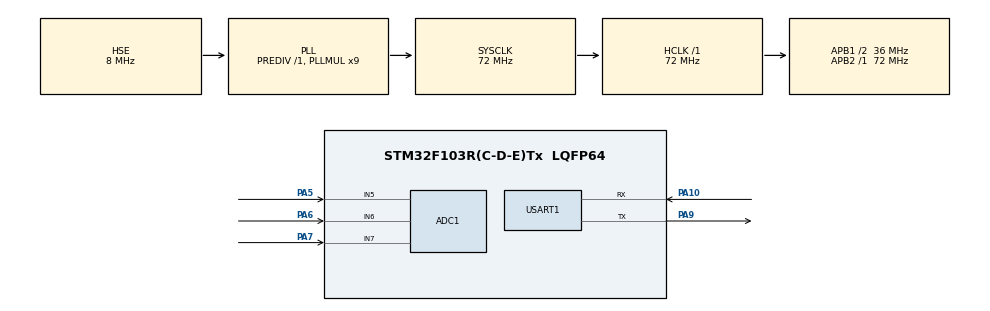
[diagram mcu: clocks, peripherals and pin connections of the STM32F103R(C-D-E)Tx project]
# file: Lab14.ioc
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ADC1.Channel-6\#ChannelRegularConversion=ADC_CHANNEL_5
ADC1.Channel-7\#ChannelRegularConversion=ADC_CHANNEL_6
ADC1.Channel-8\#ChannelRegularConversion=ADC_CHANNEL_7
ADC1.DiscontinuousConvMode=ENABLE
ADC1.NbrOfConversion=3
ADC1.NbrOfConversionFlag=1
ADC1.Rank-6\#ChannelRegularConversion=1
ADC1.Rank-7\#ChannelRegularConversion=2
ADC1.Rank-8\#ChannelRegularConversion=3
ADC1.SamplingTime-6\#ChannelRegularConversion=ADC_SAMPLETIME_1CYCLE_5
ADC1.SamplingTime-7\#ChannelRegularConversion=ADC_SAMPLETIME_1CYCLE_5
ADC1.SamplingTime-8\#ChannelRegularConversion=ADC_SAMPLETIME_1CYCLE_5
ADC1.master=1
Mcu.Family=STM32F1
Mcu.Name=STM32F103R(C-D-E)Tx
Mcu.Package=LQFP64
NVIC.PriorityGroup=NVIC_PRIORITYGROUP_4
PA10.Mode=Asynchronous
PA10.Signal=USART1_RX
PA13.Mode=Serial_Wire
PA13.Signal=SYS_JTMS-SWDIO
PA14.Mode=Serial_Wire
PA14.Signal=SYS_JTCK-SWCLK
PA5.Signal=ADCx_IN5
PA6.Signal=ADCx_IN6
PA7.Signal=ADCx_IN7
PA9.Mode=Asynchronous
PA9.Signal=USART1_TX
PD0-OSC_IN.Mode=HSE-External-Oscillator
PD0-OSC_IN.Signal=RCC_OSC_IN
PD1-OSC_OUT.Mode=HSE-External-Oscillator
PD1-OSC_OUT.Signal=RCC_OSC_OUT
ProjectManager.HeapSize=0x200
ProjectManager.StackSize=0x400
ProjectManager.TargetToolchain=STM32CubeIDE
RCC.ADCPresc=RCC_ADCPCLK2_DIV6
RCC.AHBFreq_Value=72000000
RCC.APB1CLKDivider=RCC_HCLK_DIV2
RCC.APB1Freq_Value=36000000
RCC.APB1TimFreq_Value=72000000
RCC.APB2Freq_Value=72000000
RCC.APB2TimFreq_Value=72000000
RCC.HCLKFreq_Value=72000000
RCC.PLLMUL=RCC_PLL_MUL9
RCC.PLLSourceVirtual=RCC_PLLSOURCE_HSE
RCC.SYSCLKFreq_VALUE=72000000
RCC.SYSCLKSource=RCC_SYSCLKSOURCE_PLLCLK
RCC.USBFreq_Value=72000000
SH.ADCx_IN5.0=ADC1_IN5,IN5
SH.ADCx_IN6.0=ADC1_IN6,IN6
SH.ADCx_IN7.0=ADC1_IN7,IN7
USART1.VirtualMode=VM_ASYNC
board=custom

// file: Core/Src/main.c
/* USER CODE BEGIN Header */
/**
  ******************************************************************************
  * @file           : main.c
  * @brief          : Main program body
  ******************************************************************************
  * @attention
  *
  * Copyright (c) 2023 STMicroelectronics.
  * All rights reserved.
  *
  * This software is licensed under terms that can be found in the LICENSE file
  * in the root directory of this software component.
  * If no LICENSE file comes with this software, it is provided AS-IS.
  *
  ******************************************************************************
  */
/* USER CODE END Header */
#include "main.h"
#include "adc.h"
#include "usart.h"
#include "gpio.h"

/* USER CODE BEGIN Includes */
#include <stdio.h>
#include <string.h>
#include "lcd.h"
/* USER CODE END Includes */

void SystemClock_Config(void);

int main(void) {

    /* MCU Configuration--------------------------------------------------------*/

    /* Reset of all peripherals, Initializes the Flash interface and the Systick. */
    HAL_Init();

    /* Configure the system clock */
    SystemClock_Config();

    /* Initialize all configured peripherals */
    MX_GPIO_Init();
    MX_ADC1_Init();
    MX_USART1_UART_Init();
    /* USER CODE BEGIN 2 */
    LCD_Init();
    uint16_t raw;
    char msg[20];
    double vol;
    HAL_UART_Transmit(&huart1, "Start\r\n", 7, HAL_MAX_DELAY);
//    LCD_ShowString(30, 110, 200, 16, 16, "The voltage is: ");
    /* USER CODE END 2 */

    /* Infinite loop */
    /* USER CODE BEGIN WHILE */
//    HAL_ADC_Start(&hadc1);
//    while (1) {
    /* USER CODE END WHILE */

    /* USER CODE BEGIN 3 */
// Wait for regular group conversion to be completed
//        HAL_ADC_PollForConversion(&hadc1, HAL_MAX_DELAY);
//        raw = HAL_ADC_GetValue(&hadc1); // Get ADC value
//        vol = (double) raw * (3.3 / 4096); // the voltage should be raw * (3.3/4096)(12 bits)
//        sprintf(msg, "Voltage = %f\r\n", vol); // Convert to string and print
//        HAL_UART_Transmit(&huart1, (uint8_t *) msg, strlen(msg), HAL_MAX_DELAY);
//        int adcBuf[3];
//        for (int i = 0; i < 3; i++) {
//            HAL_ADC_Start(&hadc1);
//            HAL_ADC_PollForConversion(&hadc1, HAL_MAX_DELAY);
//            adcBuf[i] = HAL_ADC_GetValue(&hadc1);
////            sprintf(msg, "ch:%d %d\r\n", i, adcBuf[i]);
//            vol = (double)raw * (3.3/4096); // the voltage should be raw * (3.3/4096)(12 bits)
//            sprintf(msg, "ch:%d Voltage = %f\r\n", (i + 5), vol); // Convert to string and print
//            HAL_UART_Transmit(&huart1, (uint8_t *) msg, strlen(msg), HAL_MAX_DELAY);
//            LCD_ShowString(30, 110 + i * 20, 200, 16, 16, msg);
//        }
//        HAL_Delay(500);

//    }

    HAL_UART_Transmit(&huart1, "Start\r\n", 7, HAL_MAX_DELAY);
    HAL_ADC_Start(&hadc1);
    while (1) {
        for (int i = 0; i < 3; i++) {
            HAL_ADC_Start(&hadc1);
            HAL_ADC_PollForConversion(&hadc1, HAL_MAX_DELAY);
            raw = HAL_ADC_GetValue(&hadc1);
            vol = (double) raw * (3.3 / 4096); // the voltage should be raw * (3.3/4096)(12 bits)
            sprintf(msg, "ch:%d %f\r\n", i + 5, vol);
            HAL_UART_Transmit(&huart1, (uint8_t *) msg, strlen(msg), HAL_MAX_DELAY);
            LCD_ShowString(30, 110 + i * 20, 200, 16, 16, msg);
        }
        HAL_Delay(500);
    }

    /* USER CODE END 3 */
}

void SystemClock_Config(void) {
    RCC_OscInitTypeDef RCC_OscInitStruct = {0};
    RCC_ClkInitTypeDef RCC_ClkInitStruct = {0};
    RCC_PeriphCLKInitTypeDef PeriphClkInit = {0};

    /** Initializes the RCC Oscillators according to the specified parameters
    * in the RCC_OscInitTypeDef structure.
    */
    RCC_OscInitStruct.OscillatorType = RCC_OSCILLATORTYPE_HSE;
    RCC_OscInitStruct.HSEState = RCC_HSE_ON;
    RCC_OscInitStruct.HSEPredivValue = RCC_HSE_PREDIV_DIV1;
    RCC_OscInitStruct.HSIState = RCC_HSI_ON;
    RCC_OscInitStruct.PLL.PLLState = RCC_PLL_ON;
    RCC_OscInitStruct.PLL.PLLSource = RCC_PLLSOURCE_HSE;
    RCC_OscInitStruct.PLL.PLLMUL = RCC_PLL_MUL9;
    if (HAL_RCC_OscConfig(&RCC_OscInitStruct) != HAL_OK) {
        Error_Handler();
    }

    /** Initializes the CPU, AHB and APB buses clocks
    */
    RCC_ClkInitStruct.ClockType = RCC_CLOCKTYPE_HCLK | RCC_CLOCKTYPE_SYSCLK
                                  | RCC_CLOCKTYPE_PCLK1 | RCC_CLOCKTYPE_PCLK2;
    RCC_ClkInitStruct.SYSCLKSource = RCC_SYSCLKSOURCE_PLLCLK;
    RCC_ClkInitStruct.AHBCLKDivider = RCC_SYSCLK_DIV1;
    RCC_ClkInitStruct.APB1CLKDivider = RCC_HCLK_DIV2;
    RCC_ClkInitStruct.APB2CLKDivider = RCC_HCLK_DIV1;

    if (HAL_RCC_ClockConfig(&RCC_ClkInitStruct, FLASH_LATENCY_2) != HAL_OK) {
        Error_Handler();
    }
    PeriphClkInit.PeriphClockSelection = RCC_PERIPHCLK_ADC;
    PeriphClkInit.AdcClockSelection = RCC_ADCPCLK2_DIV6;
    if (HAL_RCCEx_PeriphCLKConfig(&PeriphClkInit) != HAL_OK) {
        Error_Handler();
    }
}

void Error_Handler(void) {
    __disable_irq();
    while (1) {
    }
}
